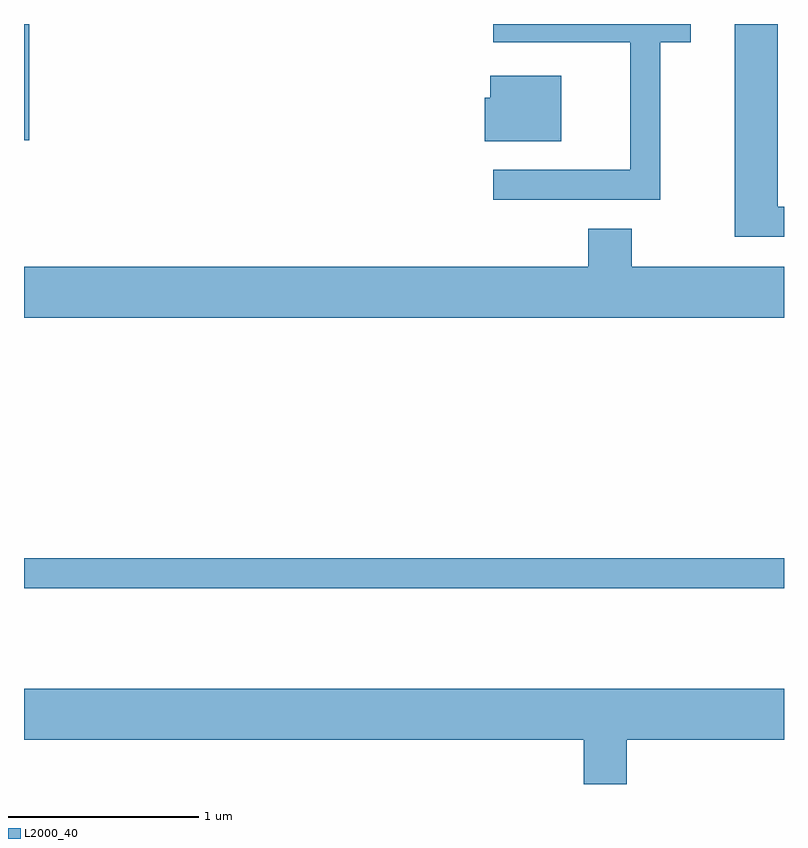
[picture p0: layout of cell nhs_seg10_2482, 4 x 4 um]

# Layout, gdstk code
import gdstk
lib = gdstk.Library(unit=1e-6, precision=1e-09)
def R(c, l, rs):  # rectangles x0, y0, x1, y1
    for r in rs: c.add(gdstk.rectangle(r[:2], r[2:], *l))
def P(c, l, *ps):  # polygons
    for p in ps: c.add(gdstk.Polygon(p, *l))
L2000_40 = (2000, 40)

nhs_seg10_2482 = lib.new_cell('nhs_seg10_2482')
R(nhs_seg10_2482, L2000_40, [(257.611,2163.551,261.611,2163.709), (257.611,2165.911,257.639,2166.522)])
P(nhs_seg10_2482, L2000_40, [(261.611,2165.559),(261.579,2165.559),(261.579,2166.522),(261.351,2166.522),(261.351,2165.401),(261.611,2165.401)],
  [(260.959,2166.426),(261.119,2166.426),(261.119,2166.522),(260.082,2166.522),(260.082,2166.426),(260.801,2166.426),(260.801,2165.754),(260.082,2165.754),(260.082,2165.596),(260.959,2165.596)],
  [(260.439,2166.249),(260.066,2166.249),(260.066,2166.134),(260.036,2166.134),(260.036,2165.906),(260.439,2165.906)],
  [(261.611,2165.244),(260.809,2165.244),(260.809,2165.444),(260.581,2165.444),(260.581,2165.244),(257.611,2165.244),(257.611,2164.976),(261.611,2164.976)],
  [(260.784,2162.756),(261.611,2162.756),(261.611,2163.024),(257.611,2163.024),(257.611,2162.756),(260.556,2162.756),(260.556,2162.522),(260.784,2162.522)])

lib.write_gds('nhs_seg10_2482.gds')
